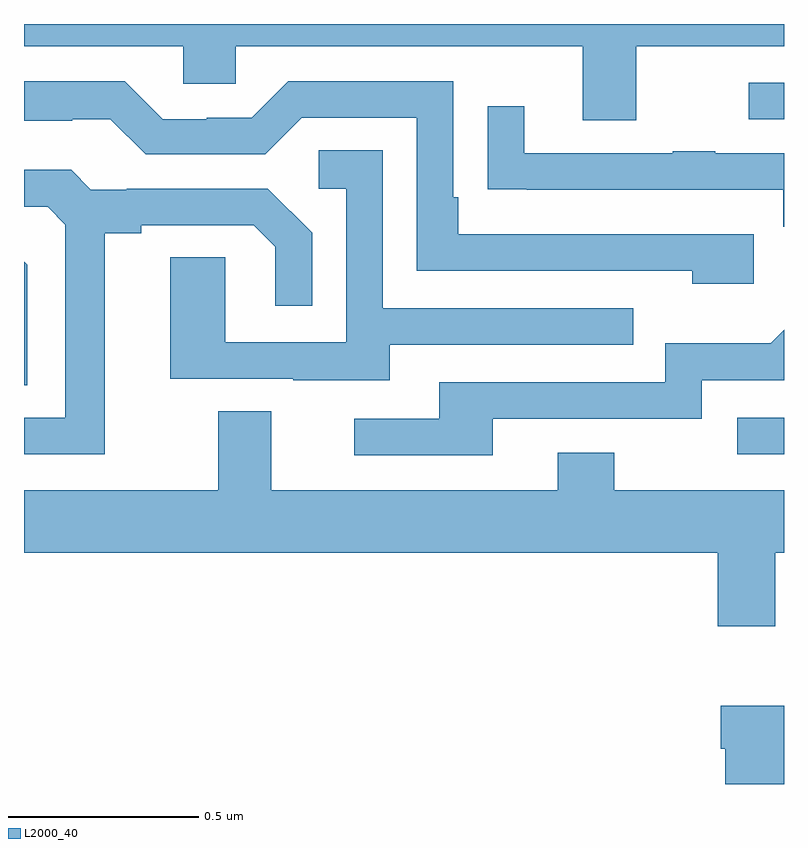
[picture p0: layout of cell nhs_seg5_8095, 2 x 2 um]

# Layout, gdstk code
import gdstk
lib = gdstk.Library(unit=1e-6, precision=1e-09)
def R(c, l, rs):  # rectangles x0, y0, x1, y1
    for r in rs: c.add(gdstk.rectangle(r[:2], r[2:], *l))
def P(c, l, *ps):  # polygons
    for p in ps: c.add(gdstk.Polygon(p, *l))
L2000_40 = (2000, 40)

nhs_seg5_8095 = lib.new_cell('nhs_seg5_8095')
R(nhs_seg5_8095, L2000_40, [(218.877,875.667,219,875.763), (218.907,876.549,219,876.645)])
P(nhs_seg5_8095, L2000_40, [(218.611,876.74),(219,876.74),(219,876.799),(217,876.799),(217,876.74),(217.419,876.74),(217.419,876.642),(217.557,876.642),(217.557,876.74),(218.471,876.74),(218.471,876.546),(218.611,876.546)],
  [(218.92,876.246),(218.143,876.246),(218.143,876.343),(218.13,876.343),(218.13,876.648),(217.695,876.648),(217.599,876.552),(217.481,876.552),(217.481,876.549),(217.365,876.549),(217.265,876.649),(217,876.649),(217,876.545),(217.127,876.545),(217.127,876.549),(217.227,876.549),(217.32,876.456),(217.635,876.456),(217.731,876.552),(218.034,876.552),(218.034,876.15),(218.759,876.15),(218.759,876.116),(218.92,876.116)],
  [(219,876.459),(218.819,876.459),(218.819,876.464),(218.707,876.464),(218.707,876.459),(218.317,876.459),(218.317,876.583),(218.221,876.583),(218.221,876.364),(218.323,876.364),(218.323,876.363),(218.998,876.363),(218.998,876.266),(219,876.266)],
  [(217.963,875.955),(218.603,875.955),(218.603,876.051),(217.944,876.051),(217.944,876.467),(217.776,876.467),(217.776,876.366),(217.848,876.366),(217.848,875.961),(217.53,875.961),(217.53,876.185),(217.385,876.185),(217.385,875.865),(217.709,875.865),(217.709,875.861),(217.963,875.861)],
  [(217.213,876.248),(217.309,876.248),(217.309,876.27),(217.604,876.27),(217.661,876.213),(217.661,876.057),(217.758,876.057),(217.758,876.25),(217.642,876.366),(217.27,876.366),(217.27,876.363),(217.176,876.363),(217.124,876.415),(217,876.415),(217,876.318),(217.062,876.318),(217.109,876.271),(217.109,875.763),(217,875.763),(217,875.667),(217.213,875.667)],
  [(217.008,876.166),(217,876.174),(217,875.848),(217.008,875.848)],
  [(218.233,875.76),(218.784,875.76),(218.784,875.862),(219,875.862),(219,875.994),(218.965,875.959),(218.688,875.959),(218.688,875.856),(218.093,875.856),(218.093,875.76),(217.869,875.76),(217.869,875.664),(218.233,875.664)],
  [(218.977,875.408),(219,875.408),(219,875.572),(218.553,875.572),(218.553,875.671),(218.405,875.671),(218.405,875.572),(217.651,875.572),(217.651,875.78),(217.511,875.78),(217.511,875.572),(217,875.572),(217,875.408),(218.825,875.408),(218.825,875.214),(218.977,875.214)],
  [(219,875.005),(218.834,875.005),(218.834,874.892),(218.846,874.892),(218.846,874.799),(219,874.799)])

lib.write_gds('nhs_seg5_8095.gds')
